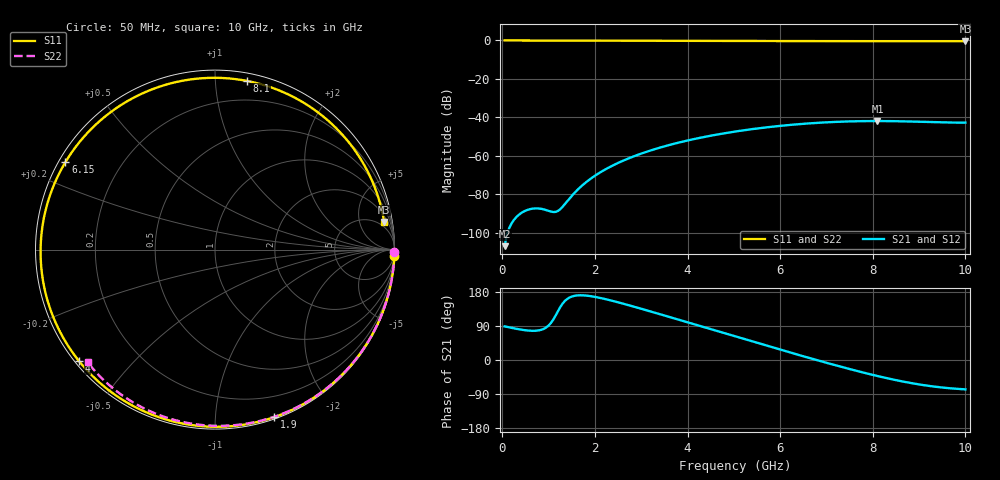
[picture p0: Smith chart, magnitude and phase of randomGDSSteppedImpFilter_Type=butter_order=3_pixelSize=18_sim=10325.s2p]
! freq	dB(S11)	phase(S11)	dB(S12)	phase(S12)
!  dB(S21)	phase(S21)	dB(S22)	phase(S22)
!S-par simulation data
#  GHz  S  DB  R 50
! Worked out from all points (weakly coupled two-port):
!   200 points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, 50 MHz to 10 GHz, reference 50 ohm
!   highest |S21| = -41.85 dB at 8.1 GHz (marker M1); lowest = -106.9 dB at 50 MHz (marker M2)
!   lowest |S11| = -0.4 dB at 10 GHz (marker M3), VSWR 43.13, Z = 165 + j571 ohm
!   |S11| at or under -10 dB: nowhere
!   |S22| runs from -0.5 to 0.0 dB; largest |S21 - S12| = 0
!   S11 on the Smith chart (normalised r, x): 50 MHz: 0, -59; 1.9 GHz: 0.02, -1.41; 4 GHz: 0.01, -0.36; 6.15 GHz: 0.02, +0.27; 8.1 GHz: 0.05, +1.21; 10 GHz: 3, +11
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0.05  -0.00 -1.9  -106.85 88.7  -106.85 88.7  -0.00 -0.8
0.4  -0.02 -15.3  -89.77 80.2  -89.77 80.2  -0.01 -6.4
0.75  -0.04 -28.6  -87.24 77.5  -87.24 77.5  -0.01 -11.9
1.5  -0.07 -56.3  -80.71 167.4  -80.71 167.4  -0.03 -23.7
1.75  -0.08 -65.3  -74.80 170.6  -74.80 170.6  -0.04 -27.6
1.9  -0.09 -70.6  -71.96 168.7  -71.96 168.7  -0.04 -29.9
2.25  -0.10 -82.9  -66.64 160.0  -66.64 160.0  -0.05 -35.3
2.65  -0.12 -96.5  -62.02 147.3  -62.02 147.3  -0.05 -41.4
3.4  -0.15 -121.3  -55.68 121.0  -55.68 121.0  -0.07 -52.5
4  -0.18 -140.5  -51.96 99.4  -51.96 99.4  -0.08 -61.2
4.55  -0.21 -158.1  -49.25 79.5  -49.25 79.5  -0.10 -69.0
5.05  -0.24 -174.1  -47.24 61.4  -47.24 61.4  -0.12 -76.0
5.6  -0.27 168.0  -45.43 41.7  -45.43 41.7  -0.14 -83.4
6.15  -0.31 149.7  -44.01 22.1  -44.01 22.1  -0.16 -90.7
6.7  -0.34 130.6  -42.95 2.9  -42.95 2.9  -0.19 -97.8
7.45  -0.37 103.6  -42.08 -22.3  -42.08 -22.3  -0.24 -107.4
8.1  -0.39 79.3  -41.85 -42.2  -41.85 -42.2  -0.28 -115.4
8.35  -0.39 69.9  -41.89 -49.2  -41.89 -49.2  -0.30 -118.5
8.75  -0.39 54.7  -42.07 -59.2  -42.07 -59.2  -0.34 -123.4
9.2  -0.39 37.9  -42.37 -68.1  -42.37 -68.1  -0.38 -128.8
9.6  -0.40 23.3  -42.61 -73.8  -42.61 -73.8  -0.42 -133.7
10  -0.40 9.2  -42.67 -77.4  -42.67 -77.4  -0.47 -138.5
